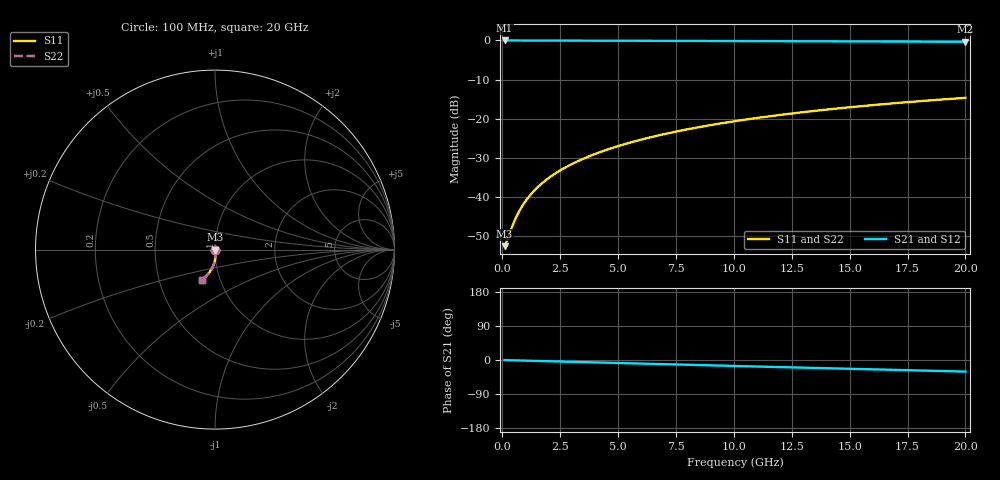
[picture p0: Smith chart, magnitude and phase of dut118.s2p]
! Touchstone file exported from HFSS 2026.1.0
!  File:  C:/ffzhzh/LocalFiles/Ansys_Project_Files/temp_train_BSMRDL_118_1782985989_45328.aedt
!  Generated:  05:54:15 PM Jul  2, 2026
!  Design:  BSMRDL
!  Project:  temp_train_BSMRDL_118_1782985989_45328
! Variables:
!  h_bsmrdl = 3.74um
!  h_ox = 20um
!  h_rdl = 5um
!  h_sub = 80um
!  h_tmrdl = 5um
!  h_tsv = 80um
!  h_via = 3um
!  l_bsmrdl = 501.81um
!  l_sub = 901.81um
!  l_tmrdl = 200um
!  m_sub = 200um
!  pitch = 24.66um
!  r_tsv = 6um
!  s_tmrdl = 10um
!  w_bsmrdl = 23.04um
!  w_sub = 500um
!  w_tmrdl = 12um
!  x_tsv_center1 = 206um
!  x_tsv_center2 = 730.85um
!  x_tsv_center3 = 942.85um
!  x_tsv_center4 = 1467.7um
!  x_tsv_center5 = 1679.7um
!  x_tsv_center6 = 2204.55um
# GHz S MA R 50.000000
! Terminal data exported
! Port[1] = BSM_RDL1_1_T1
! Port[2] = BSM_RDL1_1_T2
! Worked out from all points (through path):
!   200 points, 100 MHz to 20 GHz, reference 50 ohm
!   highest |S21| = -0.02 dB at 100 MHz (marker M1); lowest = -0.4 dB at 20 GHz (marker M2)
!   group delay of S21, straight-line fit = 4.23 ps
!   lowest |S11| = -52.5 dB at 100 MHz (marker M3), VSWR 1.00, Z = 50.2 - j0.0224 ohm
!   |S11| at or under -10 dB: start of sweep to end of sweep
!   |S22| runs from -52.5 to -14.7 dB; largest |S21 - S12| = 2.1e-15
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0.1  0.002375 -5.4  0.9976 -0.2  0.9976 -0.2  0.002375 -5.4
! Gamma 0 0 0 0
! Port Impedance 50 0 50 0
0.2  0.002777 -12.4  0.9973 -0.4  0.9973 -0.4  0.002777 -12.4
0.4  0.004037 -28.3  0.9964 -0.7  0.9964 -0.7  0.004037 -28.3
0.5  0.004784 -35.4  0.996 -0.9  0.996 -0.9  0.004784 -35.4
0.7  0.006379 -46.6  0.9955 -1.2  0.9955 -1.2  0.006379 -46.6
0.8  0.007205 -50.9  0.9953 -1.4  0.9953 -1.4  0.007205 -50.9
1  0.008887 -57.6  0.995 -1.7  0.995 -1.7  0.008887 -57.6
1.3  0.01145 -64.5  0.9946 -2.2  0.9946 -2.2  0.01145 -64.5
1.7  0.01492 -70.5  0.9942 -2.8  0.9942 -2.8  0.01492 -70.5
2.2  0.01931 -75.3  0.9938 -3.6  0.9938 -3.6  0.01931 -75.3
2.8  0.02465 -79.0  0.9931 -4.5  0.9931 -4.5  0.02465 -79.0
3.5  0.03097 -82.1  0.9922 -5.6  0.9922 -5.6  0.03097 -82.0
4.2  0.03739 -84.4  0.9913 -6.8  0.9913 -6.8  0.03739 -84.4
5  0.04484 -86.6  0.9901 -8.0  0.9901 -8.0  0.04483 -86.5
5.9  0.05334 -88.7  0.9886 -9.4  0.9886 -9.4  0.05333 -88.6
6.8  0.06194 -90.6  0.987 -10.8  0.987 -10.8  0.06192 -90.6
8.4  0.07736 -93.8  0.9841 -13.3  0.9841 -13.3  0.07735 -93.8
10.1  0.0938 -97.0  0.9809 -15.9  0.9809 -15.9  0.09378 -97.0
11.7  0.1092 -99.9  0.9778 -18.3  0.9778 -18.3  0.1092 -99.9
13.4  0.1254 -102.9  0.9742 -20.8  0.9742 -20.8  0.1253 -102.8
16.7  0.1559 -108.5  0.967 -25.7  0.967 -25.7  0.1558 -108.4
20  0.185 -113.9  0.9592 -30.6  0.9592 -30.6  0.1849 -113.7
